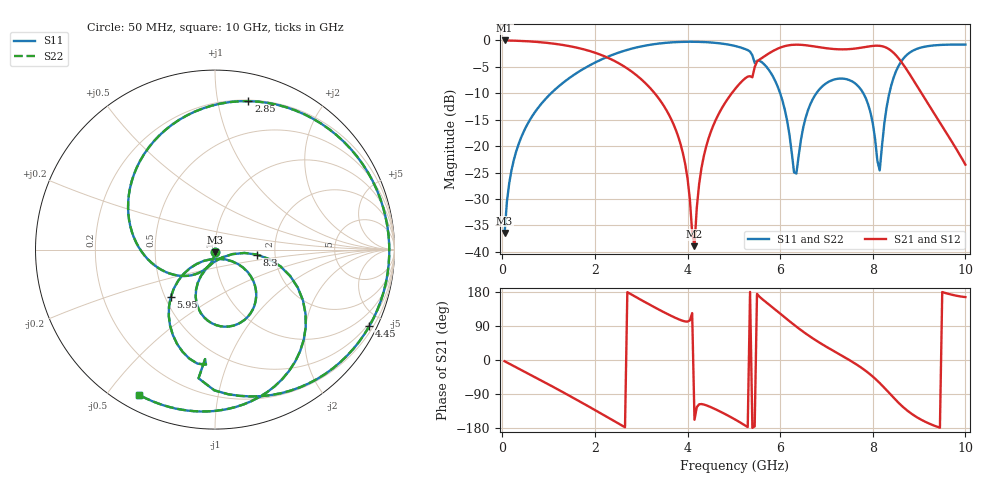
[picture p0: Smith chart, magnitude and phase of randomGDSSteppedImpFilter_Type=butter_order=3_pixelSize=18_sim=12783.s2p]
! freq	dB(S11)	phase(S11)	dB(S12)	phase(S12)
!  dB(S21)	phase(S21)	dB(S22)	phase(S22)
!S-par simulation data
#  GHz  S  DB  R 50
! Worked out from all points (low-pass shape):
!   200 points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, 50 MHz to 10 GHz, reference 50 ohm
!   highest |S21| = -0.01 dB at 50 MHz (marker M1); lowest = -38.9 dB at 4.15 GHz (marker M2)
!   |S21| within 3 dB of the highest: start of sweep to 2.207 GHz; 5.659 GHz to 8.521 GHz (2.861 GHz wide, 40.4 % of centre)
!   lowest |S11| = -36.4 dB at 50 MHz (marker M3), VSWR 1.03, Z = 49.9 - j1.5 ohm
!   |S11| at or under -10 dB: start of sweep to 1.053 GHz; 6 GHz to 6.782 GHz (781.8 MHz wide, 12.2 % of centre); 7.796 GHz to 8.358 GHz (561.8 MHz wide, 6.96 % of centre)
!   |S22| runs from -36.4 to -0.3 dB; largest |S21 - S12| = 0
!   S11 on the Smith chart (normalised r, x): 50 MHz: 1.00, -0.03; 2.85 GHz: 0.21, +1.23; 4.45 GHz: 0.39, -4.23; 5.95 GHz: 0.53, -0.33; 8.3 GHz: 1.60, -0.09; 10 GHz: 0.06, -0.60
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0.05  -36.44 -92.7  -0.01 -3.3  -0.01 -3.3  -36.44 -92.7
0.2  -24.51 -103.1  -0.04 -12.9  -0.04 -12.9  -24.51 -103.1
0.5  -16.58 -122.6  -0.14 -32.1  -0.14 -32.1  -16.58 -122.6
1.15  -9.21 -165.1  -0.66 -74.4  -0.66 -74.4  -9.21 -165.2
1.75  -5.40 154.3  -1.67 -114.7  -1.67 -114.7  -5.40 154.3
2.85  -1.43 77.3  -6.26 168.6  -6.26 168.6  -1.43 77.3
3.4  -0.57 39.9  -11.24 131.8  -11.24 131.8  -0.57 39.9
3.9  -0.27 7.7  -21.33 103.3  -21.33 103.3  -0.27 7.7
4.15  -0.26 -7.9  -38.93 -157.7  -38.93 -157.7  -0.26 -7.9
4.25  -0.28 -14.0  -27.21 -116.9  -27.21 -116.9  -0.28 -14.0
4.45  -0.36 -26.4  -18.65 -121.7  -18.65 -121.7  -0.36 -26.4
5.05  -1.10 -65.2  -8.94 -158.6  -8.94 -158.6  -1.10 -65.2
5.45  -4.26 -95.2  -5.05 -175.2  -5.05 -175.2  -4.26 -95.2
5.95  -8.80 -132.9  -1.54 127.5  -1.54 127.5  -8.80 -132.8
6.35  -25.19 -67.8  -0.80 88.1  -0.80 88.1  -25.12 -68.0
6.7  -11.18 -39.3  -1.09 57.5  -1.09 57.5  -11.18 -39.4
7.7  -8.80 -102.5  -1.45 -15.9  -1.45 -15.9  -8.80 -102.5
8.15  -24.59 -47.6  -1.02 -60.8  -1.02 -60.8  -24.66 -47.6
8.3  -12.60 -6.8  -1.40 -79.9  -1.40 -79.9  -12.60 -6.7
8.35  -10.29 -10.0  -1.65 -86.5  -1.65 -86.5  -10.29 -9.9
9.05  -1.33 -73.3  -9.95 -157.9  -9.95 -157.9  -1.33 -73.3
10  -0.79 -117.6  -23.51 166.0  -23.51 166.0  -0.79 -117.6
